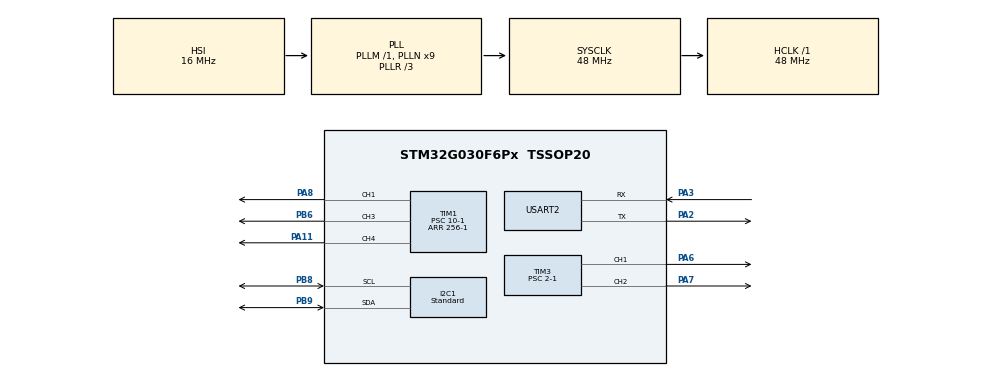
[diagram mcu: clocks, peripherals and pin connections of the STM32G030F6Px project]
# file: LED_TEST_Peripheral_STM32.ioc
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Dma.Request0=TIM3_CH1
Dma.Request1=TIM3_CH2
Dma.TIM3_CH1.0.Direction=DMA_MEMORY_TO_PERIPH
Dma.TIM3_CH1.0.EventEnable=DISABLE
Dma.TIM3_CH1.0.Instance=DMA1_Channel2
Dma.TIM3_CH1.0.MemDataAlignment=DMA_MDATAALIGN_HALFWORD
Dma.TIM3_CH1.0.MemInc=DMA_MINC_ENABLE
Dma.TIM3_CH1.0.Mode=DMA_NORMAL
Dma.TIM3_CH1.0.PeriphDataAlignment=DMA_PDATAALIGN_HALFWORD
Dma.TIM3_CH1.0.PeriphInc=DMA_PINC_DISABLE
Dma.TIM3_CH1.0.Polarity=HAL_DMAMUX_REQ_GEN_RISING
Dma.TIM3_CH1.0.Priority=DMA_PRIORITY_LOW
Dma.TIM3_CH1.0.RequestNumber=1
Dma.TIM3_CH1.0.SignalID=NONE
Dma.TIM3_CH1.0.SyncEnable=DISABLE
Dma.TIM3_CH1.0.SyncPolarity=HAL_DMAMUX_SYNC_NO_EVENT
Dma.TIM3_CH1.0.SyncRequestNumber=1
Dma.TIM3_CH1.0.SyncSignalID=NONE
Dma.TIM3_CH2.1.Direction=DMA_MEMORY_TO_PERIPH
Dma.TIM3_CH2.1.EventEnable=DISABLE
Dma.TIM3_CH2.1.Instance=DMA1_Channel3
Dma.TIM3_CH2.1.MemDataAlignment=DMA_MDATAALIGN_HALFWORD
Dma.TIM3_CH2.1.MemInc=DMA_MINC_ENABLE
Dma.TIM3_CH2.1.Mode=DMA_NORMAL
Dma.TIM3_CH2.1.PeriphDataAlignment=DMA_PDATAALIGN_HALFWORD
Dma.TIM3_CH2.1.PeriphInc=DMA_PINC_DISABLE
Dma.TIM3_CH2.1.Polarity=HAL_DMAMUX_REQ_GEN_RISING
Dma.TIM3_CH2.1.Priority=DMA_PRIORITY_LOW
Dma.TIM3_CH2.1.RequestNumber=1
Dma.TIM3_CH2.1.SignalID=NONE
Dma.TIM3_CH2.1.SyncEnable=DISABLE
Dma.TIM3_CH2.1.SyncPolarity=HAL_DMAMUX_SYNC_NO_EVENT
Dma.TIM3_CH2.1.SyncRequestNumber=1
Dma.TIM3_CH2.1.SyncSignalID=NONE
I2C1.I2C_Speed_Mode=I2C_Standard
I2C1.Timing=0x20303E5D
Mcu.Family=STM32G0
Mcu.Name=STM32G030F6Px
Mcu.Package=TSSOP20
NVIC.DMA1_Channel2_3_IRQn=true\:0\:0\:false\:false\:true\:false\:true\:true
NVIC.I2C1_IRQn=true\:0\:0\:false\:false\:true\:true\:true\:true
NVIC.TIM1_BRK_UP_TRG_COM_IRQn=true\:0\:0\:false\:false\:true\:true\:true\:true
NVIC.TIM1_CC_IRQn=true\:0\:0\:false\:false\:true\:true\:true\:true
NVIC.TIM3_IRQn=true\:0\:0\:false\:false\:true\:true\:true\:true
NVIC.USART2_IRQn=true\:0\:0\:false\:false\:true\:true\:true\:true
PA11\ [PA9].Signal=S_TIM1_CH4
PA13.Mode=Serial_Wire
PA13.Signal=SYS_SWDIO
PA14-BOOT0.Mode=Serial_Wire
PA14-BOOT0.Signal=SYS_SWCLK
PA14-BOOT0__PA15.StandardMode=true
PA2.Mode=Asynchronous
PA2.Signal=USART2_TX
PA3.Mode=Asynchronous
PA3.Signal=USART2_RX
PA6.Signal=S_TIM3_CH1
PA7.Signal=S_TIM3_CH2
PA8.Signal=S_TIM1_CH1
PB0__PB1__PB2__PA8.StandardMode=true
PB3__PB4__PB5__PB6.StandardMode=true
PB6.Signal=S_TIM1_CH3
PB7__PB8.StandardMode=true
PB8.Mode=I2C
PB8.Signal=I2C1_SCL
PB9.Mode=I2C
PB9.Signal=I2C1_SDA
PC14-OSC32_IN\ (PC14)__PB9.StandardMode=true
ProjectManager.HeapSize=0x200
ProjectManager.StackSize=0x400
ProjectManager.TargetToolchain=MDK-ARM V5.32
RCC.ADCFreq_Value=48000000
RCC.AHBFreq_Value=48000000
RCC.CortexFreq_Value=48000000
RCC.EXTERNAL_CLOCK_VALUE=12288000
RCC.HCLKFreq_Value=48000000
RCC.HSE_VALUE=8000000
RCC.HSI_VALUE=16000000
RCC.LSE_VALUE=32768
RCC.PLLN=9
RCC.PLLR=RCC_PLLR_DIV3
RCC.SYSCLKFreq_VALUE=48000000
RCC.SYSCLKSource=RCC_SYSCLKSOURCE_PLLCLK
RCC.VCOOutputFreq_Value=144000000
SH.S_TIM1_CH1.0=TIM1_CH1,PWM Generation1 CH1
SH.S_TIM1_CH3.0=TIM1_CH3,PWM Generation3 CH3
SH.S_TIM1_CH4.0=TIM1_CH4,PWM Generation4 CH4
SH.S_TIM3_CH1.0=TIM3_CH1,PWM Generation1 CH1
SH.S_TIM3_CH2.0=TIM3_CH2,PWM Generation2 CH2
TIM1.Channel-PWM\ Generation1\ CH1=TIM_CHANNEL_1
TIM1.Channel-PWM\ Generation3\ CH3=TIM_CHANNEL_3
TIM1.Channel-PWM\ Generation4\ CH4=TIM_CHANNEL_4
TIM1.Period=256-1
TIM1.Prescaler=10-1
TIM1.Pulse-PWM\ Generation1\ CH1=120-1
TIM1.Pulse-PWM\ Generation3\ CH3=120-1
TIM1.Pulse-PWM\ Generation4\ CH4=120
TIM3.Channel-PWM\ Generation1\ CH1=TIM_CHANNEL_1
TIM3.Channel-PWM\ Generation2\ CH2=TIM_CHANNEL_2
TIM3.Period=30-1
TIM3.Prescaler=2-1
USART2.VirtualMode-Asynchronous=VM_ASYNC
VP_TIM1_VS_ClockSourceINT.Mode=Internal
VP_TIM3_VS_ClockSourceINT.Mode=Internal
board=custom

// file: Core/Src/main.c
/* USER CODE BEGIN Header */
/**
  ******************************************************************************
  * @file           : main.c
  * @brief          : Main program body
  ******************************************************************************
  * @attention
  *
  * Copyright (c) 2023 STMicroelectronics.
  * All rights reserved.
  *
  * This software is licensed under terms that can be found in the LICENSE file
  * in the root directory of this software component.
  * If no LICENSE file comes with this software, it is provided AS-IS.
  *
  ******************************************************************************
  */
/* USER CODE END Header */
#include "main.h"

/* USER CODE BEGIN Includes */

/* Private includes ----------------------------------------------------------*/
/* USER CODE BEGIN Includes */

UART_HandleTypeDef huart2;

#ifdef __GNUC__
/* With GCC/RAISONANCE, small printf (option LD Linker->Libraries->Small printf
set to СYes? calls __io_putchar() */
#define PUTCHAR_PROTOTYPE int __io_putchar(int ch)
#else
#define PUTCHAR_PROTOTYPE int fputc(int ch, FILE *f)
#endif /* __GNUC__ */

/**
* @brief Retargets the C library printf function to the USART.
* @param None
* @retval None
*/
PUTCHAR_PROTOTYPE
{
/* Place your implementation of fputc here */
/* e.g. write a character to the USART */
HAL_UART_Transmit(&huart2, (uint8_t *)&ch, 1,10);
return ch;
}
/* USER CODE END Includes */

I2C_HandleTypeDef hi2c1;

TIM_HandleTypeDef htim1;
TIM_HandleTypeDef htim3;
DMA_HandleTypeDef hdma_tim3_ch1;
DMA_HandleTypeDef hdma_tim3_ch2;

UART_HandleTypeDef huart2;

/* USER CODE BEGIN PV */

float bred=0,bgreen=0,bblue=0;
uint8_t state_cup=0;
uint8_t state_gate=0;
//#define PWM_HI (74)
//#define PWM_LO (32)
 uint8_t rxbuf[10];
uint8_t rx_data;
uint8_t location=255;
uint8_t pattern_strip;
uint8_t pattern_cup;
uint8_t pattern_gate;
uint8_t red_cup;
uint8_t green_cup;
uint8_t blue_cup;
uint8_t red_gate;
uint8_t green_gate;
uint8_t blue_gate;
uint8_t rx_complete=0;
uint8_t state_protocol =0;
uint8_t cup_blink =0;
uint8_t gate_blink =0;
uint32_t start_time_gate;
uint32_t start_time_cup;
uint32_t current_time_gate;
uint32_t current_time_cup;
int Cup_Brightness = 45;
int Gate_Brightness = 45;
uint8_t strip_brightness = 0;

/* USER CODE END PV */

void SystemClock_Config(void);
static void MX_GPIO_Init(void);
static void MX_DMA_Init(void);
static void MX_TIM1_Init(void);
static void MX_USART2_UART_Init(void);
static void MX_TIM3_Init(void);
static void MX_I2C1_Init(void);

int main(void)
{

  /* MCU Configuration--------------------------------------------------------*/

  /* Reset of all peripherals, Initializes the Flash interface and the Systick. */
  HAL_Init();

  /* Configure the system clock */
  SystemClock_Config();

  /* Initialize all configured peripherals */
  MX_GPIO_Init();
  MX_DMA_Init();
  MX_TIM1_Init();
  MX_USART2_UART_Init();
  MX_TIM3_Init();
  MX_I2C1_Init();
  /* USER CODE BEGIN 2 */
	printf("Firmware Version Compute Board : v1.0 \r\n");
//for(int i=0;i<25;i++)
//		{
//			Set_LED(i,245 ,65, 170);
//		}

		//Set_Brightness(45);
	//	WS2812_Send();
	__HAL_TIM_SET_COMPARE(&htim1, TIM_CHANNEL_1,1-1);
	__HAL_TIM_SET_COMPARE(&htim1, TIM_CHANNEL_3,1-1);
	__HAL_TIM_SET_COMPARE(&htim1, TIM_CHANNEL_4,1-1);
	HAL_TIM_PWM_Start(&htim1, TIM_CHANNEL_1);
	HAL_TIM_PWM_Start(&htim1, TIM_CHANNEL_4);
	HAL_TIM_PWM_Start(&htim1, TIM_CHANNEL_3);

	Set_LED_GATE(0,0,0,0);
	Set_LED_GATE(1,0,0,0);
		Set_Brightness_GATE(Gate_Brightness);
		WS2812_Send(GATE);

		Set_LED_CUP(0,0,0,0);
	Set_LED_CUP(1,0,0,0);
	Set_Brightness_CUP(Cup_Brightness);
		WS2812_Send(CUP);

	HAL_UART_Receive_IT(&huart2,  &rx_data, 1);
	 //HAL_UARTEx_ReceiveToIdle_DMA(&huart2,  rxbuf, 10);
	 //__HAL_DMA_DISABLE_IT(&hdma_usart2_rx, DMA_IT_HT);
//	 Set_LED_CUP(0,0,0,0);
//		Set_LED_CUP(1,0,0,0);
//		WS2812_Send(CUP);
  /* USER CODE END 2 */

  /* Infinite loop */
  /* USER CODE BEGIN WHILE */
		Set_LED_GATE(0,0,0,0);
	Set_LED_GATE(1,0,0,0);
		Set_Brightness_GATE(Gate_Brightness);
		WS2812_Send(GATE);

		Set_LED_CUP(0,0,0,0);
	Set_LED_CUP(1,0,0,0);
	Set_Brightness_CUP(Cup_Brightness);
		WS2812_Send(CUP);
  while (1)
  {

		//printf("Hello \r\n");
		if (pattern_strip ==11)
		{
			BreatheWhite();

		}
		else if (pattern_strip ==12)
		{
			BreatheRed();
		}
		else if (pattern_strip ==13)
		{
			BreatheGreen();
		}
		else if (pattern_strip ==14)
		{
			BreatheBlue();
		}
		else if (pattern_strip ==15)
		{
			Whiteon();
		}
		else if (pattern_strip ==16)
		{
			Redon();
		}
		else if (pattern_strip ==17)
		{
			Greenon();
		}
		else if (pattern_strip ==18)
		{
			Blueon();
		}
		else if(pattern_strip==19)
			{
				Alloff();
		}
//		else if (pattern ==15)
//		{
//			Whiteon();
//		}
//		else if (pattern ==16)
//		{
//			Redon();
//		}
//		else if (pattern ==17)
//		{
//			Greenon();
//		}
//		else if (pattern ==18)
//		{
//			Blueon();
//		}
    /* USER CODE END WHILE */

    /* USER CODE BEGIN 3 */
//		for (int i=0; i<46; i++)
//	  {
//		  Set_Brightness(i);
//		  WS2812_Send();
//		 // HAL_Delay (50);
//			//printf("Code Init \r\n");
//	  }

//	  for (int i=45; i>=0; i--)
//	  {
//		  Set_Brightness(i);
//		  WS2812_Send();
//		 // HAL_Delay (50);
//	  }
		 //Breathe();
		 if(gate_blink==1){
		current_time_gate = HAL_GetTick();
		if(current_time_gate-start_time_gate>1000){
			if(state_gate == 1){
				state_gate =0;
				Set_LED_GATE(0,red_gate,green_gate,blue_gate);
				Set_LED_GATE(1,red_gate, green_gate,blue_gate);
				Set_Brightness_GATE(Gate_Brightness);
				WS2812_Send(GATE);
			}
			else{
				state_gate=1;

				Set_LED_GATE(0,0,0,0);
				Set_LED_GATE(1,0,0,0);
				Set_Brightness_GATE(Gate_Brightness);
				WS2812_Send(GATE);
			}
		start_time_gate=current_time_gate;
		}
	}
	if(cup_blink==1){
		current_time_cup = HAL_GetTick();
		if(current_time_cup-start_time_cup>1000){
			if(state_cup == 1){
				state_cup =0;

				Set_LED_CUP(0,red_cup,green_cup,blue_cup);
				Set_LED_CUP(1,red_cup,green_cup,blue_cup);
				Set_Brightness_CUP(Cup_Brightness);
				WS2812_Send(CUP);
			}
			else{
				state_cup=1;
				Set_LED_CUP(0,0,0,0);
				Set_LED_CUP(1,0,0,0);
				Set_Brightness_CUP(Cup_Brightness);
				WS2812_Send(CUP);
			}
		start_time_cup=current_time_cup;
		}
	}
	}

  /* USER CODE END 3 */
}

void SystemClock_Config(void)
{
  RCC_OscInitTypeDef RCC_OscInitStruct = {0};
  RCC_ClkInitTypeDef RCC_ClkInitStruct = {0};

  /** Configure the main internal regulator output voltage
  */
  HAL_PWREx_ControlVoltageScaling(PWR_REGULATOR_VOLTAGE_SCALE1);

  /** Initializes the RCC Oscillators according to the specified parameters
  * in the RCC_OscInitTypeDef structure.
  */
  RCC_OscInitStruct.OscillatorType = RCC_OSCILLATORTYPE_HSI;
  RCC_OscInitStruct.HSIState = RCC_HSI_ON;
  RCC_OscInitStruct.HSIDiv = RCC_HSI_DIV1;
  RCC_OscInitStruct.HSICalibrationValue = RCC_HSICALIBRATION_DEFAULT;
  RCC_OscInitStruct.PLL.PLLState = RCC_PLL_ON;
  RCC_OscInitStruct.PLL.PLLSource = RCC_PLLSOURCE_HSI;
  RCC_OscInitStruct.PLL.PLLM = RCC_PLLM_DIV1;
  RCC_OscInitStruct.PLL.PLLN = 9;
  RCC_OscInitStruct.PLL.PLLP = RCC_PLLP_DIV2;
  RCC_OscInitStruct.PLL.PLLR = RCC_PLLR_DIV3;
  if (HAL_RCC_OscConfig(&RCC_OscInitStruct) != HAL_OK)
  {
    Error_Handler();
  }

  /** Initializes the CPU, AHB and APB buses clocks
  */
  RCC_ClkInitStruct.ClockType = RCC_CLOCKTYPE_HCLK|RCC_CLOCKTYPE_SYSCLK
                              |RCC_CLOCKTYPE_PCLK1;
  RCC_ClkInitStruct.SYSCLKSource = RCC_SYSCLKSOURCE_PLLCLK;
  RCC_ClkInitStruct.AHBCLKDivider = RCC_SYSCLK_DIV1;
  RCC_ClkInitStruct.APB1CLKDivider = RCC_HCLK_DIV1;

  if (HAL_RCC_ClockConfig(&RCC_ClkInitStruct, FLASH_LATENCY_1) != HAL_OK)
  {
    Error_Handler();
  }
}

static void MX_I2C1_Init(void)
{

  hi2c1.Instance = I2C1;
  hi2c1.Init.Timing = 0x20303E5D;
  hi2c1.Init.OwnAddress1 = 0;
  hi2c1.Init.AddressingMode = I2C_ADDRESSINGMODE_7BIT;
  hi2c1.Init.DualAddressMode = I2C_DUALADDRESS_DISABLE;
  hi2c1.Init.OwnAddress2 = 0;
  hi2c1.Init.OwnAddress2Masks = I2C_OA2_NOMASK;
  hi2c1.Init.GeneralCallMode = I2C_GENERALCALL_DISABLE;
  hi2c1.Init.NoStretchMode = I2C_NOSTRETCH_DISABLE;
  if (HAL_I2C_Init(&hi2c1) != HAL_OK)
  {
    Error_Handler();
  }

  /** Configure Analogue filter
  */
  if (HAL_I2CEx_ConfigAnalogFilter(&hi2c1, I2C_ANALOGFILTER_ENABLE) != HAL_OK)
  {
    Error_Handler();
  }

  /** Configure Digital filter
  */
  if (HAL_I2CEx_ConfigDigitalFilter(&hi2c1, 0) != HAL_OK)
  {
    Error_Handler();
  }

}

static void MX_TIM1_Init(void)
{

  TIM_ClockConfigTypeDef sClockSourceConfig = {0};
  TIM_MasterConfigTypeDef sMasterConfig = {0};
  TIM_OC_InitTypeDef sConfigOC = {0};
  TIM_BreakDeadTimeConfigTypeDef sBreakDeadTimeConfig = {0};

  htim1.Instance = TIM1;
  htim1.Init.Prescaler = 10-1;
  htim1.Init.CounterMode = TIM_COUNTERMODE_UP;
  htim1.Init.Period = 256-1;
  htim1.Init.ClockDivision = TIM_CLOCKDIVISION_DIV1;
  htim1.Init.RepetitionCounter = 0;
  htim1.Init.AutoReloadPreload = TIM_AUTORELOAD_PRELOAD_DISABLE;
  if (HAL_TIM_Base_Init(&htim1) != HAL_OK)
  {
    Error_Handler();
  }
  sClockSourceConfig.ClockSource = TIM_CLOCKSOURCE_INTERNAL;
  if (HAL_TIM_ConfigClockSource(&htim1, &sClockSourceConfig) != HAL_OK)
  {
    Error_Handler();
  }
  if (HAL_TIM_PWM_Init(&htim1) != HAL_OK)
  {
    Error_Handler();
  }
  sMasterConfig.MasterOutputTrigger = TIM_TRGO_RESET;
  sMasterConfig.MasterOutputTrigger2 = TIM_TRGO2_RESET;
  sMasterConfig.MasterSlaveMode = TIM_MASTERSLAVEMODE_DISABLE;
  if (HAL_TIMEx_MasterConfigSynchronization(&htim1, &sMasterConfig) != HAL_OK)
  {
    Error_Handler();
  }
  sConfigOC.OCMode = TIM_OCMODE_PWM1;
  sConfigOC.Pulse = 120-1;
  sConfigOC.OCPolarity = TIM_OCPOLARITY_HIGH;
  sConfigOC.OCNPolarity = TIM_OCNPOLARITY_HIGH;
  sConfigOC.OCFastMode = TIM_OCFAST_DISABLE;
  sConfigOC.OCIdleState = TIM_OCIDLESTATE_RESET;
  sConfigOC.OCNIdleState = TIM_OCNIDLESTATE_RESET;
  if (HAL_TIM_PWM_ConfigChannel(&htim1, &sConfigOC, TIM_CHANNEL_1) != HAL_OK)
  {
    Error_Handler();
  }
  if (HAL_TIM_PWM_ConfigChannel(&htim1, &sConfigOC, TIM_CHANNEL_3) != HAL_OK)
  {
    Error_Handler();
  }
  sConfigOC.Pulse = 120;
  if (HAL_TIM_PWM_ConfigChannel(&htim1, &sConfigOC, TIM_CHANNEL_4) != HAL_OK)
  {
    Error_Handler();
  }
  sBreakDeadTimeConfig.OffStateRunMode = TIM_OSSR_DISABLE;
  sBreakDeadTimeConfig.OffStateIDLEMode = TIM_OSSI_DISABLE;
  sBreakDeadTimeConfig.LockLevel = TIM_LOCKLEVEL_OFF;
  sBreakDeadTimeConfig.DeadTime = 0;
  sBreakDeadTimeConfig.BreakState = TIM_BREAK_DISABLE;
  sBreakDeadTimeConfig.BreakPolarity = TIM_BREAKPOLARITY_HIGH;
  sBreakDeadTimeConfig.BreakFilter = 0;
  sBreakDeadTimeConfig.BreakAFMode = TIM_BREAK_AFMODE_INPUT;
  sBreakDeadTimeConfig.Break2State = TIM_BREAK2_DISABLE;
  sBreakDeadTimeConfig.Break2Polarity = TIM_BREAK2POLARITY_HIGH;
  sBreakDeadTimeConfig.Break2Filter = 0;
  sBreakDeadTimeConfig.Break2AFMode = TIM_BREAK_AFMODE_INPUT;
  sBreakDeadTimeConfig.AutomaticOutput = TIM_AUTOMATICOUTPUT_DISABLE;
  if (HAL_TIMEx_ConfigBreakDeadTime(&htim1, &sBreakDeadTimeConfig) != HAL_OK)
  {
    Error_Handler();
  }
  HAL_TIM_MspPostInit(&htim1);

}

static void MX_TIM3_Init(void)
{

  TIM_ClockConfigTypeDef sClockSourceConfig = {0};
  TIM_MasterConfigTypeDef sMasterConfig = {0};
  TIM_OC_InitTypeDef sConfigOC = {0};

  htim3.Instance = TIM3;
  htim3.Init.Prescaler = 2-1;
  htim3.Init.CounterMode = TIM_COUNTERMODE_UP;
  htim3.Init.Period = 30-1;
  htim3.Init.ClockDivision = TIM_CLOCKDIVISION_DIV1;
  htim3.Init.AutoReloadPreload = TIM_AUTORELOAD_PRELOAD_DISABLE;
  if (HAL_TIM_Base_Init(&htim3) != HAL_OK)
  {
    Error_Handler();
  }
  sClockSourceConfig.ClockSource = TIM_CLOCKSOURCE_INTERNAL;
  if (HAL_TIM_ConfigClockSource(&htim3, &sClockSourceConfig) != HAL_OK)
  {
    Error_Handler();
  }
  if (HAL_TIM_PWM_Init(&htim3) != HAL_OK)
  {
    Error_Handler();
  }
  sMasterConfig.MasterOutputTrigger = TIM_TRGO_RESET;
  sMasterConfig.MasterSlaveMode = TIM_MASTERSLAVEMODE_DISABLE;
  if (HAL_TIMEx_MasterConfigSynchronization(&htim3, &sMasterConfig) != HAL_OK)
  {
    Error_Handler();
  }
  sConfigOC.OCMode = TIM_OCMODE_PWM1;
  sConfigOC.Pulse = 0;
  sConfigOC.OCPolarity = TIM_OCPOLARITY_HIGH;
  sConfigOC.OCFastMode = TIM_OCFAST_DISABLE;
  if (HAL_TIM_PWM_ConfigChannel(&htim3, &sConfigOC, TIM_CHANNEL_1) != HAL_OK)
  {
    Error_Handler();
  }
  if (HAL_TIM_PWM_ConfigChannel(&htim3, &sConfigOC, TIM_CHANNEL_2) != HAL_OK)
  {
    Error_Handler();
  }
  HAL_TIM_MspPostInit(&htim3);

}

static void MX_USART2_UART_Init(void)
{

  huart2.Instance = USART2;
  huart2.Init.BaudRate = 115200;
  huart2.Init.WordLength = UART_WORDLENGTH_8B;
  huart2.Init.StopBits = UART_STOPBITS_1;
  huart2.Init.Parity = UART_PARITY_NONE;
  huart2.Init.Mode = UART_MODE_TX_RX;
  huart2.Init.HwFlowCtl = UART_HWCONTROL_NONE;
  huart2.Init.OverSampling = UART_OVERSAMPLING_16;
  huart2.Init.OneBitSampling = UART_ONE_BIT_SAMPLE_DISABLE;
  huart2.Init.ClockPrescaler = UART_PRESCALER_DIV1;
  huart2.AdvancedInit.AdvFeatureInit = UART_ADVFEATURE_NO_INIT;
  if (HAL_UART_Init(&huart2) != HAL_OK)
  {
    Error_Handler();
  }

}

static void MX_DMA_Init(void)
{

  /* DMA controller clock enable */
  __HAL_RCC_DMA1_CLK_ENABLE();

  /* DMA interrupt init */
  /* DMA1_Channel2_3_IRQn interrupt configuration */
  HAL_NVIC_SetPriority(DMA1_Channel2_3_IRQn, 0, 0);
  HAL_NVIC_EnableIRQ(DMA1_Channel2_3_IRQn);

}

static void MX_GPIO_Init(void)
{

  /* GPIO Ports Clock Enable */
  __HAL_RCC_GPIOB_CLK_ENABLE();
  __HAL_RCC_GPIOA_CLK_ENABLE();

}

/* USER CODE BEGIN 4 */

void HAL_UART_RxCpltCallback(UART_HandleTypeDef *huart) {
  if (huart == &huart2) {
		if(rx_data==7)
		{

			HAL_UART_Receive(&huart2,  rxbuf, 5,100);

			location = rxbuf[0];
			if(location == CUP)
			{
			red_cup = rxbuf[2];
			green_cup = rxbuf[3];
			blue_cup = rxbuf[4];
			pattern_cup = rxbuf[1];
			//Cup_Brightness = rxbuf[5];
			//printf("cup \r\n");
			}
			else if(location == GATE)
			{
				red_gate = rxbuf[2];
				green_gate = rxbuf[3];
				blue_gate = rxbuf[4];
				pattern_gate = rxbuf[1];
				//Gate_Brightness = rxbuf[5];
				//printf("Gate \r\n");
			}
			rx_complete=1;
			switch(location)
		{
			case STRIP:
				pattern_strip = rxbuf[1];
				strip_brightness = rxbuf[5];
				//pattern =11;
				printf("STRIP \r\n");
				printf("Pattern %d \r\n", pattern_strip);
				switch (pattern_strip)
				{
					case 1:
					printf("Breathe White 1\r\n");
					pattern_strip =11;
					break;

					case 2:
						pattern_strip =12;
					break;

					case 3:
						pattern_strip =13;
					break;

					case 4:
						pattern_strip =14;
					break;

					case 5:
						pattern_strip =15;
					Whiteon();
					break;

					case 6:
						pattern_strip =16;
					Redon();
					break;

					case 7:
						pattern_strip =17;
					Greenon();
					break;

					case 8:
						pattern_strip =18;
					Blueon();
					break;

					case 9:
						Alloff();
						pattern_strip=19;
					Alloff();
					break;

					default:
						pattern_strip=19;
						Alloff();
					Alloff();
					break;
				}

				break;
		case CUP:
			//Cup_Brightness = rxbuf[5];
			//pattern_cup = rxbuf[1];
			if(pattern_cup ==1){
				//Set_Brightness_CUP(Cup_Brightness);
				Set_LED_CUP(0,red_cup,green_cup,blue_cup);
				Set_LED_CUP(1,red_cup,green_cup,blue_cup);
				Set_Brightness_CUP(45);
				WS2812_Send(CUP);
		printf("Cup \r\n");
				cup_blink=0;
			}
			else if(pattern_cup ==2){
				cup_blink=1;
				start_time_cup = HAL_GetTick();
			}
				break;
		case GATE:
			//Gate_Brightness = rxbuf[5];
			//pattern_gate = rxbuf[1];
			if(pattern_gate==1){
				//Set_Brightness_CUP(Cup_Brightness);

				Set_LED_GATE(0,red_gate, green_gate,blue_gate);
				Set_LED_GATE(1,red_gate, green_gate,blue_gate);
				Set_Brightness_GATE(45);
				WS2812_Send(GATE);
				printf("Gate \r\n");
				printf("Gate %d, %d, %d\r\n",red_gate,green_gate, blue_gate);
				gate_blink=0;
			}
			else if(pattern_gate ==2){
				gate_blink=1;
				start_time_gate = HAL_GetTick();
			}
				break;

			}
			memset(rxbuf, 0x00, sizeof(rxbuf));
			//HAL_UART_Receive_DMA(&huart2,  &rx_data, 1);

		}
		HAL_UART_Receive_IT(&huart2,  &rx_data, 1);

	}
}

//void HAL_UARTEx_RxEventCallback(UART_HandleTypeDef *huart, uint16_t Size)
//{
//	if (huart->Instance == USART2)
//	{
//		printf("Message %s\r\n",rxbuf);
//		if(rxbuf[0]==7)
//		{
//			printf("true \r\n");
//			location = rxbuf[1];
//			pattern = rxbuf[2];
//			red = rxbuf[3];
//			green = rxbuf[4];
//			blue = rxbuf[5];
//			rx_complete=1;
//			switch(location)
//		{
//			case STRIP:
//				//pattern =11;
//				printf("STRIP \r\n");
//			printf("Pattern %d \r\n", pattern);
//				switch (pattern)
//				{
//					case 1:
//					printf("Breathe White 1\r\n");
//					pattern =11;
//					break;

//					case 2:
//						pattern =12;
//					break;

//					case 3:
//						pattern =13;
//					break;

//					case 4:
//						pattern =14;
//					break;

//					case 5:
//						pattern =15;
//					Whiteon();
//					break;
//
//					case 6:
//						pattern =16;
//					Redon();
//					break;
//
//					case 7:
//						pattern =17;
//					Greenon();
//					break;
//
//					case 8:
//						pattern =18;
//					Blueon();
//					break;
//
//					case 9:
//						Alloff();
//						pattern=19;
//					break;
//
//					default:
//						pattern=19;
//						Alloff();
//					break;
//				}
//
//				break;
//		case CUP:

//				Set_LED_CUP(0,red,green,blue);
//				Set_LED_CUP(1,red,green,blue);
//				WS2812_Send(CUP);
//		printf("Cup \r\n");
//
//				break;
//		case GATE:
//				Set_LED_GATE(0,red,green,blue);
//				Set_LED_GATE(1,red,green,blue);
//				WS2812_Send(GATE);
//		printf("Gate \r\n");
//				break;
//
//			}
//		}
//		memset(rxbuf, 0x00, sizeof(rxbuf));
//	}
//	HAL_UARTEx_ReceiveToIdle_DMA(&huart2, rxbuf, 10);
//	__HAL_DMA_DISABLE_IT(&hdma_usart2_rx, DMA_IT_HT);
//
//}

/* USER CODE END 4 */

void Error_Handler(void)
{
  __disable_irq();
  while (1)
  {
  }
}
